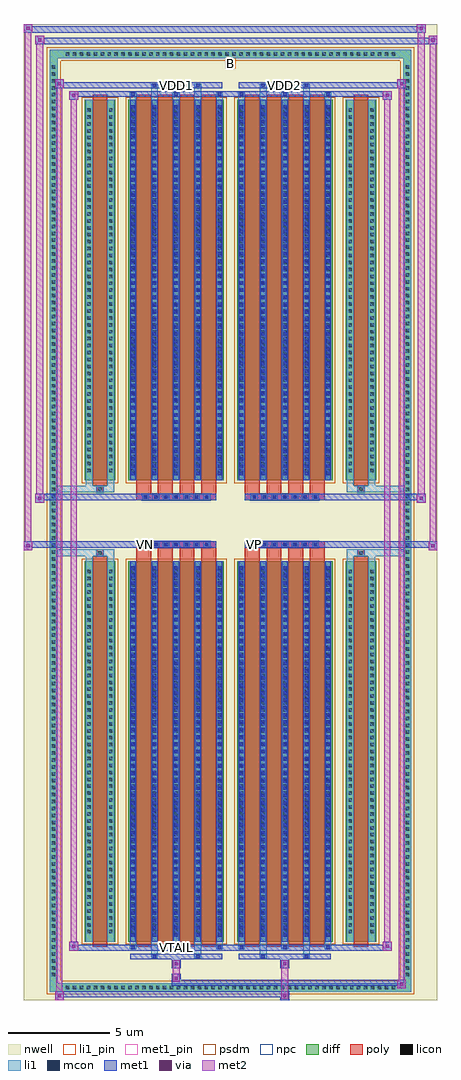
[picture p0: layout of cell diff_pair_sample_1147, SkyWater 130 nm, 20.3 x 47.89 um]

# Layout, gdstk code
import gdstk
lib = gdstk.Library(unit=1e-6, precision=5e-09)
def R(c, l, rs):  # rectangles x0, y0, x1, y1
    for r in rs: c.add(gdstk.rectangle(r[:2], r[2:], *l))
def A(c, l, x, y, w, h, nx, ny, dx, dy):  # array of equal rectangles
    R(c, l, [(x+i*dx, y+j*dy, x+i*dx+w, y+j*dy+h) for i in range(nx) for j in range(ny)])
def P(c, l, *ps):  # polygons
    for p in ps: c.add(gdstk.Polygon(p, *l))
nwell = (64, 20)
diff = (65, 20)
poly = (66, 20)
licon = (66, 44)
li1_pin = (67, 16)
li1 = (67, 20)
mcon = (67, 44)
met1_pin = (68, 16)
met1 = (68, 20)
via = (68, 44)
met2 = (69, 20)
psdm = (94, 20)
npc = (95, 20)

diff_pair_sample_1147 = lib.new_cell('diff_pair_sample_1147')
R(diff_pair_sample_1147, nwell, [(-10.15,-23.51,10.15,24.38), (-7.47,-21.7,-0.01,-0.8), (0.01,-21.7,7.47,-0.8), (-7.47,0.8,-0.01,21.7), (0.01,0.8,7.47,21.7)])
A(diff_pair_sample_1147, diff, -8.195, -23.11, 0.41, 0.41, 48, 2, 0.34, 45.81)
A(diff_pair_sample_1147, diff, -8.88, -22.475, 0.41, 0.41, 1, 132, 0, 0.34)
A(diff_pair_sample_1147, diff, 8.47, -22.475, 0.41, 0.41, 1, 132, 0, 0.34)
R(diff_pair_sample_1147, diff, [(-8.195,-23.11,8.195,-22.7), (-8.88,-22.475,-8.47,22.475), (8.47,-22.475,8.88,22.475), (-7.16,-20.655,-5.65,-1.985), (-5.01,-20.655,-0.32,-1.985), (0.32,-20.655,5.01,-1.985), (5.65,-20.655,7.16,-1.985), (-7.16,1.985,-5.65,20.655), (-5.01,1.985,-0.32,20.655), (0.32,1.985,5.01,20.655), (5.65,1.985,7.16,20.655), (-8.195,22.7,8.195,23.11)])
P(diff_pair_sample_1147, diff, [(8.88,23.11),(-8.88,23.11),(-8.88,-22.7),(-8.47,-22.7),(-8.47,22.7),(8.47,22.7),(8.47,-22.7),(-8.47,-22.7),(-8.88,-22.7),(-8.88,-23.11),(8.88,-23.11)])
A(diff_pair_sample_1147, poly, -4.62, -20.905, 0.73, 19.17, 4, 2, 1.06, 22.64)
A(diff_pair_sample_1147, poly, 0.71, -20.905, 0.73, 19.17, 4, 2, 1.06, 22.64)
A(diff_pair_sample_1147, poly, -4.62, -1.735, 0.73, 0.405, 4, 2, 1.06, 3.065)
A(diff_pair_sample_1147, poly, 0.71, -1.735, 0.73, 0.405, 4, 2, 1.06, 3.065)
A(diff_pair_sample_1147, poly, -4.33, -1.33, 0.33, 0.33, 7, 2, 0.5, 2.33)
A(diff_pair_sample_1147, poly, 1, -1.33, 0.33, 0.33, 7, 2, 0.5, 2.33)
R(diff_pair_sample_1147, poly, [(-6.77,-20.905,-6.04,-1.735), (6.04,-20.905,6.77,-1.735), (-6.57,-1.735,-6.24,-1.405), (-6.57,-1.735,-6.24,-1.405), (6.24,-1.735,6.57,-1.405), (6.24,-1.735,6.57,-1.405), (-4.62,-1.33,-0.71,-1), (0.71,-1.33,4.62,-1), (-4.62,1,-0.71,1.33), (0.71,1,4.62,1.33), (-6.57,1.405,-6.24,1.735), (-6.57,1.405,-6.24,1.735), (6.24,1.405,6.57,1.735), (6.24,1.405,6.57,1.735), (-6.77,1.735,-6.04,20.905), (6.04,1.735,6.77,20.905)])
A(diff_pair_sample_1147, licon, -8.075, -22.99, 0.17, 0.17, 48, 2, 0.34, 45.81)
A(diff_pair_sample_1147, licon, -8.76, -22.355, 0.17, 0.17, 1, 132, 0, 0.34)
A(diff_pair_sample_1147, licon, 8.59, -22.355, 0.17, 0.17, 1, 132, 0, 0.34)
A(diff_pair_sample_1147, licon, -7.02, -20.245, 0.17, 0.17, 1, 53, 0, 0.34)
A(diff_pair_sample_1147, licon, -5.96, -20.245, 0.17, 0.17, 1, 53, 0, 0.34)
A(diff_pair_sample_1147, licon, -4.87, -20.245, 0.17, 0.17, 5, 53, 1.06, 0.34)
A(diff_pair_sample_1147, licon, 0.46, -20.245, 0.17, 0.17, 5, 53, 1.06, 0.34)
A(diff_pair_sample_1147, licon, 5.79, -20.245, 0.17, 0.17, 1, 53, 0, 0.34)
A(diff_pair_sample_1147, licon, 6.85, -20.245, 0.17, 0.17, 1, 53, 0, 0.34)
A(diff_pair_sample_1147, licon, -4.25, -1.25, 0.17, 0.17, 7, 2, 0.5, 2.33)
A(diff_pair_sample_1147, licon, 1.08, -1.25, 0.17, 0.17, 7, 2, 0.5, 2.33)
A(diff_pair_sample_1147, licon, -7.02, 2.395, 0.17, 0.17, 1, 53, 0, 0.34)
A(diff_pair_sample_1147, licon, -5.96, 2.395, 0.17, 0.17, 1, 53, 0, 0.34)
A(diff_pair_sample_1147, licon, -4.87, 2.395, 0.17, 0.17, 5, 53, 1.06, 0.34)
A(diff_pair_sample_1147, licon, 0.46, 2.395, 0.17, 0.17, 5, 53, 1.06, 0.34)
A(diff_pair_sample_1147, licon, 5.79, 2.395, 0.17, 0.17, 1, 53, 0, 0.34)
A(diff_pair_sample_1147, licon, 6.85, 2.395, 0.17, 0.17, 1, 53, 0, 0.34)
R(diff_pair_sample_1147, licon, [(-6.49,-1.655,-6.32,-1.485), (6.32,-1.655,6.49,-1.485), (-6.49,1.485,-6.32,1.655), (6.32,1.485,6.49,1.655)])
R(diff_pair_sample_1147, li1_pin, [(-0.25,22.2,0.25,22.7)])
A(diff_pair_sample_1147, li1, -8.155, -23.07, 0.33, 0.33, 48, 2, 0.34, 45.81)
A(diff_pair_sample_1147, li1, -8.84, -22.435, 0.33, 0.33, 1, 132, 0, 0.34)
A(diff_pair_sample_1147, li1, 8.51, -22.435, 0.33, 0.33, 1, 132, 0, 0.34)
A(diff_pair_sample_1147, li1, -4.95, -21.03, 0.33, 0.375, 3, 2, 2.12, 41.685)
A(diff_pair_sample_1147, li1, -4.87, -21.03, 0.17, 0.17, 3, 2, 2.12, 41.89)
A(diff_pair_sample_1147, li1, 0.38, -21.03, 0.33, 0.375, 3, 2, 2.12, 41.685)
A(diff_pair_sample_1147, li1, 0.46, -21.03, 0.17, 0.17, 3, 2, 2.12, 41.89)
A(diff_pair_sample_1147, li1, -4.95, -20.655, 0.33, 18.67, 5, 2, 1.06, 22.64)
A(diff_pair_sample_1147, li1, 0.38, -20.655, 0.33, 18.67, 5, 2, 1.06, 22.64)
A(diff_pair_sample_1147, li1, -4.87, -20.405, 0.17, 0.17, 5, 51, 1.06, 0.36)
A(diff_pair_sample_1147, li1, -4.87, -20.405, 0.17, 18.17, 5, 2, 1.06, 22.64)
A(diff_pair_sample_1147, li1, 0.46, -20.405, 0.17, 0.17, 5, 51, 1.06, 0.36)
A(diff_pair_sample_1147, li1, 0.46, -20.405, 0.17, 18.17, 5, 2, 1.06, 22.64)
A(diff_pair_sample_1147, li1, -7.1, -20.325, 0.33, 0.33, 1, 53, 0, 0.34)
A(diff_pair_sample_1147, li1, -6.04, -20.325, 0.33, 0.33, 1, 53, 0, 0.34)
A(diff_pair_sample_1147, li1, -4.95, -20.325, 0.33, 0.33, 5, 53, 1.06, 0.34)
A(diff_pair_sample_1147, li1, 0.38, -20.325, 0.33, 0.33, 5, 53, 1.06, 0.34)
A(diff_pair_sample_1147, li1, 5.71, -20.325, 0.33, 0.33, 1, 53, 0, 0.34)
A(diff_pair_sample_1147, li1, 6.77, -20.325, 0.33, 0.33, 1, 53, 0, 0.34)
A(diff_pair_sample_1147, li1, -4.33, -1.33, 0.33, 0.33, 7, 2, 0.5, 2.33)
A(diff_pair_sample_1147, li1, 1, -1.33, 0.33, 0.33, 7, 2, 0.5, 2.33)
A(diff_pair_sample_1147, li1, -4.87, 2.235, 0.17, 0.17, 5, 51, 1.06, 0.36)
A(diff_pair_sample_1147, li1, 0.46, 2.235, 0.17, 0.17, 5, 51, 1.06, 0.36)
A(diff_pair_sample_1147, li1, -7.1, 2.315, 0.33, 0.33, 1, 53, 0, 0.34)
A(diff_pair_sample_1147, li1, -6.04, 2.315, 0.33, 0.33, 1, 53, 0, 0.34)
A(diff_pair_sample_1147, li1, -4.95, 2.315, 0.33, 0.33, 5, 53, 1.06, 0.34)
A(diff_pair_sample_1147, li1, 0.38, 2.315, 0.33, 0.33, 5, 53, 1.06, 0.34)
A(diff_pair_sample_1147, li1, 5.71, 2.315, 0.33, 0.33, 1, 53, 0, 0.34)
A(diff_pair_sample_1147, li1, 6.77, 2.315, 0.33, 0.33, 1, 53, 0, 0.34)
R(diff_pair_sample_1147, li1, [(-8.88,-23.11,-8.47,-22.7), (-8.88,-23.11,-8.47,-22.7), (-8.47,-23.11,8.47,-22.7), (8.47,-23.11,8.88,-22.7), (8.47,-23.11,8.88,-22.7), (-8.88,-22.7,-8.47,22.7), (8.47,-22.7,8.88,22.7), (-3.89,-21.46,-3.56,-20.655), (-3.81,-21.46,-3.64,-21.29), (-1.77,-21.46,-1.44,-20.655), (-1.69,-21.46,-1.52,-21.29), (1.44,-21.46,1.77,-20.655), (1.52,-21.46,1.69,-21.29), (3.56,-21.46,3.89,-20.655), (3.64,-21.46,3.81,-21.29), (-7.1,-20.655,-6.77,-1.985), (-6.04,-20.655,-5.71,-1.985), (5.71,-20.655,6.04,-1.985), (6.77,-20.655,7.1,-1.985), (-7.1,-1.985,-6.77,-1.405), (-6.04,-1.985,-5.71,-1.405), (5.71,-1.985,6.04,-1.405), (6.77,-1.985,7.1,-1.405), (-8.88,-1.735,-6.57,-1.405), (-7.1,-1.735,-6.57,-1.405), (-6.57,-1.735,-6.24,-1.405), (-6.24,-1.735,-5.71,-1.405), (5.71,-1.735,6.24,-1.405), (6.24,-1.735,6.57,-1.405), (6.24,-1.735,8.88,-1.405), (6.57,-1.735,7.1,-1.405), (-8.88,1.405,-6.57,1.735), (-7.1,1.405,-6.57,1.735), (-7.1,1.405,-6.77,1.985), (-6.57,1.405,-6.24,1.735), (-6.24,1.405,-5.71,1.735), (-6.04,1.405,-5.71,1.985), (5.71,1.405,6.24,1.735), (5.71,1.405,6.04,1.985), (6.24,1.405,6.57,1.735), (6.24,1.405,8.88,1.735), (6.57,1.405,7.1,1.735), (6.77,1.405,7.1,1.985), (-7.1,1.985,-6.77,20.655), (-6.04,1.985,-5.71,20.655), (5.71,1.985,6.04,20.655), (6.77,1.985,7.1,20.655), (-3.89,20.655,-3.56,21.46), (-1.77,20.655,-1.44,21.46), (1.44,20.655,1.77,21.46), (3.56,20.655,3.89,21.46), (-3.81,21.29,-3.64,21.46), (-1.69,21.29,-1.52,21.46), (1.52,21.29,1.69,21.46), (3.64,21.29,3.81,21.46), (-8.88,22.7,-8.47,23.11), (-8.88,22.7,-8.47,23.11), (-8.47,22.7,8.47,23.11), (8.47,22.7,8.88,23.11), (8.47,22.7,8.88,23.11)])
A(diff_pair_sample_1147, mcon, -4.87, -21.03, 0.17, 0.17, 3, 2, 2.12, 41.89)
A(diff_pair_sample_1147, mcon, 0.46, -21.03, 0.17, 0.17, 3, 2, 2.12, 41.89)
A(diff_pair_sample_1147, mcon, -4.87, -20.405, 0.17, 0.17, 5, 51, 1.06, 0.36)
A(diff_pair_sample_1147, mcon, 0.46, -20.405, 0.17, 0.17, 5, 51, 1.06, 0.36)
A(diff_pair_sample_1147, mcon, -4.25, -1.25, 0.17, 0.17, 7, 2, 0.5, 2.33)
A(diff_pair_sample_1147, mcon, 1.08, -1.25, 0.17, 0.17, 7, 2, 0.5, 2.33)
A(diff_pair_sample_1147, mcon, -4.87, 2.235, 0.17, 0.17, 5, 51, 1.06, 0.36)
A(diff_pair_sample_1147, mcon, 0.46, 2.235, 0.17, 0.17, 5, 51, 1.06, 0.36)
R(diff_pair_sample_1147, mcon, [(-3.81,-21.46,-3.64,-21.29), (-1.69,-21.46,-1.52,-21.29), (1.52,-21.46,1.69,-21.29), (3.64,-21.46,3.81,-21.29), (-3.81,21.29,-3.64,21.46), (-1.69,21.29,-1.52,21.46), (1.52,21.29,1.69,21.46), (3.64,21.29,3.81,21.46)])
R(diff_pair_sample_1147, met1_pin, [(-2.8,-21.07,-2.53,-20.8), (-4.3,-1.29,-4.03,-1.02), (1.03,-1.29,1.3,-1.02), (-2.8,21.25,-2.53,21.52), (2.53,21.25,2.8,21.52)])
A(diff_pair_sample_1147, met1, -4.93, -21.09, 0.29, 0.29, 3, 2, 2.12, 41.89)
A(diff_pair_sample_1147, met1, 0.4, -21.09, 0.29, 0.29, 3, 2, 2.12, 41.89)
A(diff_pair_sample_1147, met1, -4.93, -20.655, 0.29, 18.67, 5, 2, 1.06, 22.64)
A(diff_pair_sample_1147, met1, 0.4, -20.655, 0.29, 18.67, 5, 2, 1.06, 22.64)
A(diff_pair_sample_1147, met1, -4.93, -20.465, 0.29, 0.29, 5, 51, 1.06, 0.36)
A(diff_pair_sample_1147, met1, 0.4, -20.465, 0.29, 0.29, 5, 51, 1.06, 0.36)
A(diff_pair_sample_1147, met1, -4.31, -1.31, 0.29, 0.29, 7, 2, 0.5, 2.33)
A(diff_pair_sample_1147, met1, 1.02, -1.31, 0.29, 0.29, 7, 2, 0.5, 2.33)
A(diff_pair_sample_1147, met1, -4.93, 2.175, 0.29, 0.29, 5, 51, 1.06, 0.36)
A(diff_pair_sample_1147, met1, 0.4, 2.175, 0.29, 0.29, 5, 51, 1.06, 0.36)
R(diff_pair_sample_1147, met1, [(-8.61,-23.51,-8.18,-23.08), (2.45,-23.51,2.88,-23.08), (-8.61,-23.37,2.88,-23.08), (8.18,-22.94,8.61,-22.51), (-2.88,-22.8,8.61,-22.51), (-2.88,-22.66,-2.45,-22.23), (-2.88,-21.95,-2.45,-21.52), (2.45,-21.95,2.88,-21.52), (-4.93,-21.52,-0.4,-21.23), (-3.87,-21.52,-3.58,-21.23), (-1.75,-21.52,-1.46,-21.23), (0.4,-21.52,4.93,-21.23), (1.46,-21.52,1.75,-21.23), (3.58,-21.52,3.87,-21.23), (-7.9,-21.09,-7.47,-20.66), (-7.9,-21.09,-4.93,-20.8), (-4.93,-21.09,-0.4,-20.8), (-0.4,-21.09,0.4,-20.8), (0.4,-21.09,4.93,-20.8), (4.93,-21.09,7.9,-20.8), (7.47,-21.09,7.9,-20.66), (-10.15,-1.43,-9.72,-1), (9.72,-1.43,10.15,-1), (-10.15,-1.33,-0.71,-1), (-4.62,-1.33,-0.71,-1), (0.71,-1.33,4.62,-1), (0.71,-1.33,10.15,-1), (-9.58,0.9,-9.15,1.33), (9.15,0.9,9.58,1.33), (-9.58,1,-4.62,1.33), (-4.62,1,-0.71,1.33), (0.71,1,4.62,1.33), (4.62,1,9.58,1.33), (-7.9,20.66,-7.47,21.09), (7.47,20.66,7.9,21.09), (-7.9,20.8,-4.93,21.09), (-4.93,20.8,-0.4,21.09), (-0.4,20.8,0.4,21.09), (0.4,20.8,4.93,21.09), (4.93,20.8,7.9,21.09), (-8.61,21.23,-8.18,21.66), (-8.61,21.23,-4.93,21.52), (-4.93,21.23,-0.4,21.52), (-3.87,21.23,-3.58,21.52), (-1.75,21.23,-1.46,21.52), (0.4,21.23,4.93,21.52), (1.46,21.23,1.75,21.52), (3.58,21.23,3.87,21.52), (4.93,21.23,8.61,21.52), (8.18,21.23,8.61,21.66), (-9.58,23.38,-9.15,23.81), (-9.58,23.38,-7.47,23.71), (-7.47,23.38,7.47,23.71), (7.47,23.38,10.15,23.71), (9.72,23.38,10.15,23.81), (-10.15,23.95,-9.72,24.38), (-10.15,23.95,-7.47,24.28), (-7.47,23.95,7.47,24.28), (7.47,23.95,9.58,24.28), (9.15,23.95,9.58,24.38)])
R(diff_pair_sample_1147, via, [(-8.47,-23.37,-8.32,-23.22), (2.59,-23.37,2.74,-23.22), (8.32,-22.8,8.47,-22.65), (-2.74,-22.52,-2.59,-22.37), (-2.74,-21.81,-2.59,-21.66), (2.59,-21.81,2.74,-21.66), (-7.76,-20.95,-7.61,-20.8), (7.61,-20.95,7.76,-20.8), (-10.01,-1.29,-9.86,-1.14), (9.86,-1.29,10.01,-1.14), (-9.44,1.04,-9.29,1.19), (9.29,1.04,9.44,1.19), (-7.76,20.8,-7.61,20.95), (7.61,20.8,7.76,20.95), (-8.47,21.37,-8.32,21.52), (8.32,21.37,8.47,21.52), (-9.44,23.52,-9.29,23.67), (9.86,23.52,10.01,23.67), (-10.01,24.09,-9.86,24.24), (9.29,24.09,9.44,24.24)])
R(diff_pair_sample_1147, met2, [(-8.61,-23.51,-8.18,-23.08), (-8.54,-23.51,-8.25,21.66), (-8.25,-23.51,-8.18,-23.08), (-8.56,-23.46,-8.23,-23.13), (2.5,-23.46,2.83,-23.13), (2.5,-23.13,2.83,-21.9), (8.18,-22.94,8.61,-22.51), (8.25,-22.94,8.54,21.66), (8.54,-22.94,8.61,-22.51), (8.23,-22.89,8.56,-22.56), (-2.83,-22.61,-2.5,-22.28), (-2.83,-22.28,-2.5,-21.9), (-2.83,-21.9,-2.5,-21.57), (2.5,-21.9,2.83,-21.57), (-7.9,-21.09,-7.47,-20.66), (-7.83,-21.09,-7.54,21.09), (-7.54,-21.09,-7.47,-20.66), (7.47,-21.09,7.9,-20.66), (7.54,-21.09,7.83,21.09), (7.83,-21.09,7.9,-20.66), (-7.85,-21.04,-7.52,-20.71), (7.52,-21.04,7.85,-20.71), (-10.15,-1.43,-9.72,-1), (-10.1,-1.43,-9.77,24.38), (-9.77,-1.43,-9.72,-1), (9.72,-1.43,10.15,-1), (9.77,-1.43,10.1,23.81), (10.1,-1.43,10.15,-1), (-10.1,-1.38,-9.77,-1.05), (9.77,-1.38,10.1,-1.05), (-9.58,0.9,-9.15,1.33), (-9.53,0.9,-9.2,23.81), (-9.2,0.9,-9.15,1.33), (9.15,0.9,9.58,1.33), (9.2,0.9,9.53,24.38), (9.53,0.9,9.58,1.33), (-9.53,0.95,-9.2,1.28), (9.2,0.95,9.53,1.28), (-7.9,20.66,-7.47,21.09), (-7.54,20.66,-7.47,21.09), (7.47,20.66,7.9,21.09), (7.83,20.66,7.9,21.09), (-7.85,20.71,-7.52,21.04), (7.52,20.71,7.85,21.04), (-8.61,21.23,-8.18,21.66), (-8.25,21.23,-8.18,21.66), (8.18,21.23,8.61,21.66), (8.54,21.23,8.61,21.66), (-8.56,21.28,-8.23,21.61), (8.23,21.28,8.56,21.61), (-9.58,23.38,-9.15,23.81), (-9.2,23.38,-9.15,23.81), (9.72,23.38,10.15,23.81), (10.1,23.38,10.15,23.81), (-9.53,23.43,-9.2,23.76), (9.77,23.43,10.1,23.76), (-10.15,23.95,-9.72,24.38), (-9.77,23.95,-9.72,24.38), (9.15,23.95,9.58,24.38), (9.53,23.95,9.58,24.38), (-10.1,24,-9.77,24.33), (9.2,24,9.53,24.33)])
R(diff_pair_sample_1147, psdm, [(-7.29,-20.785,-5.52,-1.855), (-5.14,-20.785,-0.19,-1.855), (0.19,-20.785,5.14,-1.855), (5.52,-20.785,7.29,-1.855), (-7.29,1.855,-5.52,20.785), (-5.14,1.855,-0.19,20.785), (0.19,1.855,5.14,20.785), (5.52,1.855,7.29,20.785)])
P(diff_pair_sample_1147, psdm, [(9.01,23.24),(-9.01,23.24),(-9.01,-22.57),(-8.34,-22.57),(-8.34,22.57),(8.34,22.57),(8.34,-22.57),(-8.34,-22.57),(-9.01,-22.57),(-9.01,-23.24),(9.01,-23.24)])
A(diff_pair_sample_1147, npc, -4.35, -1.35, 0.37, 0.37, 7, 2, 0.5, 2.33)
A(diff_pair_sample_1147, npc, 0.98, -1.35, 0.37, 0.37, 7, 2, 0.5, 2.33)
R(diff_pair_sample_1147, npc, [(-6.59,-1.755,-6.22,-1.385), (6.22,-1.755,6.59,-1.385), (-4.35,-1.35,-3.48,-0.98), (-4.35,-1.35,-3.48,-0.98), (-3.85,-1.35,-2.98,-0.98), (-3.85,-1.35,-2.98,-0.98), (-3.35,-1.35,-2.48,-0.98), (-3.35,-1.35,-2.48,-0.98), (-2.85,-1.35,-1.98,-0.98), (-2.85,-1.35,-1.98,-0.98), (-2.35,-1.35,-1.48,-0.98), (-2.35,-1.35,-1.48,-0.98), (-1.85,-1.35,-0.98,-0.98), (-1.85,-1.35,-0.98,-0.98), (0.98,-1.35,1.85,-0.98), (0.98,-1.35,1.85,-0.98), (1.48,-1.35,2.35,-0.98), (1.48,-1.35,2.35,-0.98), (1.98,-1.35,2.85,-0.98), (1.98,-1.35,2.85,-0.98), (2.48,-1.35,3.35,-0.98), (2.48,-1.35,3.35,-0.98), (2.98,-1.35,3.85,-0.98), (2.98,-1.35,3.85,-0.98), (3.48,-1.35,4.35,-0.98), (3.48,-1.35,4.35,-0.98), (-4.35,0.98,-3.48,1.35), (-4.35,0.98,-3.48,1.35), (-3.85,0.98,-2.98,1.35), (-3.85,0.98,-2.98,1.35), (-3.35,0.98,-2.48,1.35), (-3.35,0.98,-2.48,1.35), (-2.85,0.98,-1.98,1.35), (-2.85,0.98,-1.98,1.35), (-2.35,0.98,-1.48,1.35), (-2.35,0.98,-1.48,1.35), (-1.85,0.98,-0.98,1.35), (-1.85,0.98,-0.98,1.35), (0.98,0.98,1.85,1.35), (0.98,0.98,1.85,1.35), (1.48,0.98,2.35,1.35), (1.48,0.98,2.35,1.35), (1.98,0.98,2.85,1.35), (1.98,0.98,2.85,1.35), (2.48,0.98,3.35,1.35), (2.48,0.98,3.35,1.35), (2.98,0.98,3.85,1.35), (2.98,0.98,3.85,1.35), (3.48,0.98,4.35,1.35), (3.48,0.98,4.35,1.35), (-6.59,1.385,-6.22,1.755), (6.22,1.385,6.59,1.755)])
diff_pair_sample_1147.add(gdstk.Label('VTAIL', (-2.665,-20.935), layer=68, texttype=5))
diff_pair_sample_1147.add(gdstk.Label('VN', (-4.165,-1.155), layer=68, texttype=5))
diff_pair_sample_1147.add(gdstk.Label('VP', (1.165,-1.155), layer=68, texttype=5))
diff_pair_sample_1147.add(gdstk.Label('B', (0,22.45), layer=67, texttype=5))
diff_pair_sample_1147.add(gdstk.Label('VDD2', (2.665,21.385), layer=68, texttype=5))
diff_pair_sample_1147.add(gdstk.Label('VDD1', (-2.665,21.385), layer=68, texttype=5))

lib.write_gds('diff_pair_sample_1147.gds')
